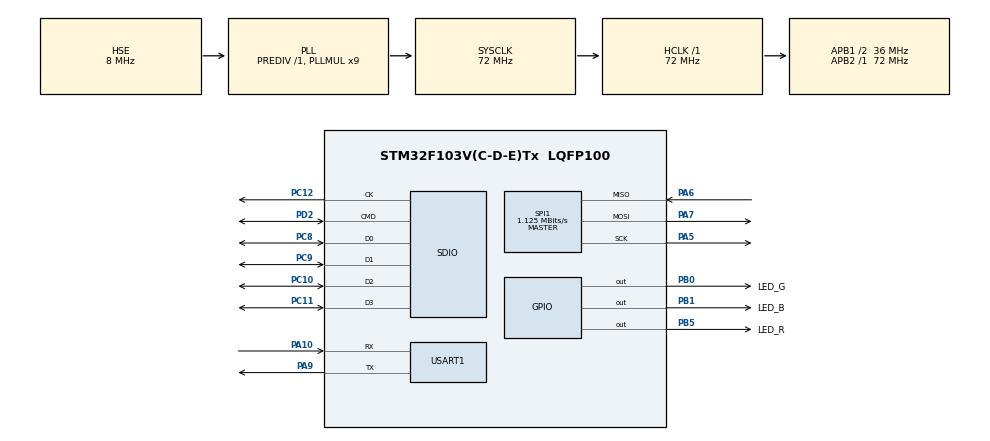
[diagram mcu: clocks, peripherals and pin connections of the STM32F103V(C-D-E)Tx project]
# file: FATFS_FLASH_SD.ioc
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FATFS._CODE_PAGE=936
FATFS._MAX_SS=4096
FATFS._USE_LFN=2
FATFS._VOLUMES=2
Mcu.Family=STM32F1
Mcu.Name=STM32F103V(C-D-E)Tx
Mcu.Package=LQFP100
NVIC.FLASH_IRQn=true\:0\:0\:false\:false\:true\:true\:true
NVIC.PriorityGroup=NVIC_PRIORITYGROUP_4
NVIC.RCC_IRQn=true\:0\:0\:false\:false\:true\:true\:false
NVIC.SDIO_IRQn=true\:0\:0\:false\:false\:true\:true\:true
NVIC.SPI1_IRQn=true\:0\:0\:false\:false\:true\:true\:true
NVIC.USART1_IRQn=true\:0\:0\:false\:false\:true\:true\:true
OSC_IN.Mode=HSE-External-Oscillator
OSC_IN.Signal=RCC_OSC_IN
OSC_OUT.Mode=HSE-External-Oscillator
OSC_OUT.Signal=RCC_OSC_OUT
PA10.Mode=Asynchronous
PA10.Signal=USART1_RX
PA13.Mode=Serial_Wire
PA13.Signal=SYS_JTMS-SWDIO
PA14.Mode=Serial_Wire
PA14.Signal=SYS_JTCK-SWCLK
PA5.Mode=Full_Duplex_Master
PA5.Signal=SPI1_SCK
PA6.Mode=Full_Duplex_Master
PA6.Signal=SPI1_MISO
PA7.Mode=Full_Duplex_Master
PA7.Signal=SPI1_MOSI
PA9.Mode=Asynchronous
PA9.Signal=USART1_TX
PB0.GPIO_Label=LED_G
PB0.Signal=GPIO_Output
PB1.GPIO_Label=LED_B
PB1.Signal=GPIO_Output
PB5.GPIO_Label=LED_R
PB5.Signal=GPIO_Output
PC10.Mode=SD_4_bits_Wide_bus
PC10.Signal=SDIO_D2
PC11.Mode=SD_4_bits_Wide_bus
PC11.Signal=SDIO_D3
PC12.Mode=SD_4_bits_Wide_bus
PC12.Signal=SDIO_CK
PC8.Mode=SD_4_bits_Wide_bus
PC8.Signal=SDIO_D0
PC9.Mode=SD_4_bits_Wide_bus
PC9.Signal=SDIO_D1
PD2.Mode=SD_4_bits_Wide_bus
PD2.Signal=SDIO_CMD
ProjectManager.HeapSize=0x600
ProjectManager.StackSize=0x2800
ProjectManager.TargetToolchain=MDK-ARM V5
RCC.AHBFreq_Value=72000000
RCC.APB1CLKDivider=RCC_HCLK_DIV2
RCC.APB1Freq_Value=36000000
RCC.APB1TimFreq_Value=72000000
RCC.APB2Freq_Value=72000000
RCC.APB2TimFreq_Value=72000000
RCC.HCLKFreq_Value=72000000
RCC.PLLMUL=RCC_PLL_MUL9
RCC.PLLSourceVirtual=RCC_PLLSOURCE_HSE
RCC.SYSCLKFreq_VALUE=72000000
RCC.SYSCLKSource=RCC_SYSCLKSOURCE_PLLCLK
RCC.USBFreq_Value=72000000
SDIO.ClockDiv=6
SPI1.BaudRatePrescaler=SPI_BAUDRATEPRESCALER_64
SPI1.CLKPhase=SPI_PHASE_2EDGE
SPI1.CLKPolarity=SPI_POLARITY_HIGH
SPI1.CalculateBaudRate=1.125 MBits/s
SPI1.Direction=SPI_DIRECTION_2LINES
SPI1.Mode=SPI_MODE_MASTER
SPI1.VirtualType=VM_MASTER
USART1.VirtualMode=VM_ASYNC
VP_FATFS_VS_Generic.Mode=User_defined
VP_FATFS_VS_SDIO.Mode=SDIO
board=custom

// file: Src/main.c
/* USER CODE BEGIN Header */
/**
  ******************************************************************************
  * @file           : main.c
  * @brief          : Main program body
  ******************************************************************************
  * @attention
  *
  * <h2><center>&copy; Copyright (c) 2020 STMicroelectronics.
  * All rights reserved.</center></h2>
  *
  * This software component is licensed by ST under Ultimate Liberty license
  * SLA0044, the "License"; You may not use this file except in compliance with
  * the License. You may obtain a copy of the License at:
  *                             www.st.com/SLA0044
  *
  ******************************************************************************
  */
/* USER CODE END Header */

#include "main.h"
#include "fatfs.h"
#include "sdio.h"
#include "spi.h"
#include "usart.h"
#include "gpio.h"

/* USER CODE BEGIN Includes */
#include "string.h"
#include "../MDK-ARM/bsp_led.h"
#include "../MDK-ARM/bsp_usart1.h"
#include "../MDK-ARM/bsp_SPI_Flash.h"
#include "../MDK-ARM/fatfs_user_fun.h"
/* USER CODE END Includes */

void SystemClock_Config(void);
/* USER CODE BEGIN PFP */
void Delay(__IO uint32_t nCount);
/* USER CODE END PFP */

int main(void)
{

  /* MCU Configuration--------------------------------------------------------*/

  /* Reset of all peripherals, Initializes the Flash interface and the Systick. */
  HAL_Init();

  /* Configure the system clock */
  SystemClock_Config();

  /* Initialize all configured peripherals */
  MX_GPIO_Init();
  MX_FATFS_Init();
  MX_SPI1_Init();
  MX_SDIO_SD_Init();
  MX_USART1_UART_Init();
  /* USER CODE BEGIN 2 */

    /*------------------------ 挂载文件系统 -----------------------*/

    SDfMount();//在SD卡挂载文件系统
    FlashfMount();//在外部SPI Flash挂载文件系统

    /*------------------------ 存储空间获取 -----------------------*/

    SDDeviceInfoGet();
    FlashDeviceInfoGet();

    /*----------------------- 文件系统测试：写测试 -----------------------------*/

		char FlashTxt1[100] = "出发";
    FlashWriteFile("1:/出发.txt", strlen(FlashTxt1), FlashTxt1);
    FlashReadFile("1:/出发.txt");

		char SDTxt1[100] = "旋风美少女战士";
    SDWriteFile("0:/旋风少女.txt", strlen(SDTxt1), SDTxt1);
		SDReadFile("0:/旋风少女.txt");

		/*------------------------ 遍历存储器文件 -----------------------*/

		FlashTraverFiles();
    SDTraverFiles();

    /*------------------------ 卸载文件系统 -----------------------*/

    f_mount(&USERFatFS, "1:/", 1);//卸载Flash文件系统
    f_mount(&SDFatFS, "0:/", 1);//卸载SD文件系统

  /* USER CODE END 2 */

  /* Infinite loop */
    while (1)
    {

    }
}

void SystemClock_Config(void)
{
  RCC_OscInitTypeDef RCC_OscInitStruct = {0};
  RCC_ClkInitTypeDef RCC_ClkInitStruct = {0};

  /** Initializes the CPU, AHB and APB busses clocks
  */
  RCC_OscInitStruct.OscillatorType = RCC_OSCILLATORTYPE_HSE;
  RCC_OscInitStruct.HSEState = RCC_HSE_ON;
  RCC_OscInitStruct.HSEPredivValue = RCC_HSE_PREDIV_DIV1;
  RCC_OscInitStruct.HSIState = RCC_HSI_ON;
  RCC_OscInitStruct.PLL.PLLState = RCC_PLL_ON;
  RCC_OscInitStruct.PLL.PLLSource = RCC_PLLSOURCE_HSE;
  RCC_OscInitStruct.PLL.PLLMUL = RCC_PLL_MUL9;
  if (HAL_RCC_OscConfig(&RCC_OscInitStruct) != HAL_OK)
  {
    Error_Handler();
  }
  /** Initializes the CPU, AHB and APB busses clocks
  */
  RCC_ClkInitStruct.ClockType = RCC_CLOCKTYPE_HCLK|RCC_CLOCKTYPE_SYSCLK
                              |RCC_CLOCKTYPE_PCLK1|RCC_CLOCKTYPE_PCLK2;
  RCC_ClkInitStruct.SYSCLKSource = RCC_SYSCLKSOURCE_PLLCLK;
  RCC_ClkInitStruct.AHBCLKDivider = RCC_SYSCLK_DIV1;
  RCC_ClkInitStruct.APB1CLKDivider = RCC_HCLK_DIV2;
  RCC_ClkInitStruct.APB2CLKDivider = RCC_HCLK_DIV1;

  if (HAL_RCC_ClockConfig(&RCC_ClkInitStruct, FLASH_LATENCY_2) != HAL_OK)
  {
    Error_Handler();
  }
}

void Error_Handler(void)
{
}

/************************ (C) COPYRIGHT STMicroelectronics *****END OF FILE****/
